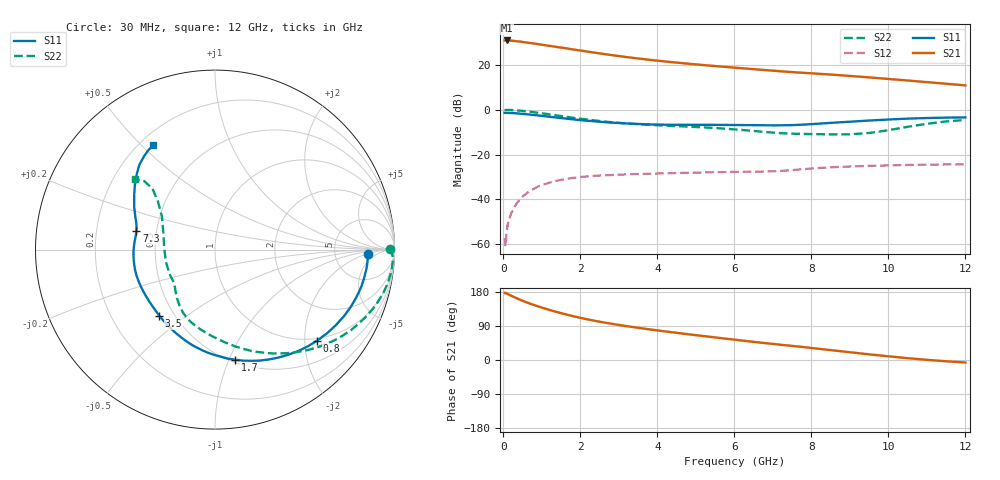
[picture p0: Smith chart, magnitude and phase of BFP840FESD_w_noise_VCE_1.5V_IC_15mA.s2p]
! Infineon Technologies  Discrete & RF Semiconductors
! BFP840FESD
! VCE =  1.5 V,  IC =  15 mA
! Common Emitter S-Parameters:  May 2012
# GHz  S  MA  R  50
!  f  S11  S21  S12  S22
! GHz  MAG  ANG  MAG  ANG  MAG  ANG  MAG  ANG
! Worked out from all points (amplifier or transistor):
!   103 points, 30 MHz to 12 GHz, reference 50 ohm
!   highest |S21| = 30.9 dB at 80 MHz (marker M1)
!   |S21| within 3 dB of that: start of sweep to 1.425 GHz
!   unconditionally stable (mu >= 1): 6.085 GHz to end of sweep
!   at 400 MHz: K = 0.11, MSG = 35.6 dB, |S12| = -40.6 dB
!   at 3.7 GHz: K = 0.65, MSG = 25.6 dB, |S12| = -28.6 dB
!   at 12 GHz: K = 1.13, MAG = 15.5 dB, |S12| = -24.4 dB
!   lowest NFmin = 0.78 dB at 450 MHz
!   S11 on the Smith chart (normalised r, x): 30 MHz: 12, -2; 800 MHz: 0.95, -2.29; 1.7 GHz: 0.53, -1.05; 3.5 GHz: 0.41, -0.40; 7.3 GHz: 0.38, +0.10; 12 GHz: 0.25, +0.54
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0.03  0.8538 -1.5  35.14 176.6  0.0012 93.3  0.9763 0.3
0.04  0.8538 -2.1  35.16 176.2  0.0013 95.6  0.9817 -0.3
0.05  0.8526 -2.8  35.22 177.2  0.0009 59.8  0.9855 -0.9
0.08  0.8526 -4.4  35.24 175.8  0.0019 99.8  0.991 -2.4
0.25  0.8415 -13.9  34.55 167.3  0.0057 82.5  0.9824 -10.2
0.4  0.823 -22.0  33.45 160.3  0.0093 77.7  0.9589 -16.4
0.6  0.7942 -32.0  31.7 152.1  0.0136 72.3  0.9209 -23.9
0.8  0.7626 -41.7  30.03 144.9  0.0174 66.3  0.8787 -30.9
1  0.7303 -50.8  28.26 138.2  0.0208 61.6  0.8335 -37.5
1.2  0.6979 -59.5  26.66 132.0  0.0237 56.8  0.7888 -43.6
1.5  0.6516 -71.9  24.41 123.6  0.0273 51.2  0.7238 -52.3
1.7  0.6233 -79.6  22.98 118.3  0.0291 47.7  0.683 -57.8
2.1  0.5768 -93.6  20.39 109.0  0.0321 42.0  0.6152 -67.8
2.7  0.5234 -111.2  17.1 97.4  0.0347 35.9  0.5382 -80.3
3.5  0.4819 -130.1  13.94 84.9  0.0367 31.6  0.4757 -93.6
4.1  0.4664 -142.2  12.22 76.8  0.0379 30.0  0.4468 -101.7
5  0.4607 -157.8  10.29 65.5  0.0395 28.8  0.4118 -112.2
6.1  0.4554 -174.2  8.577 52.5  0.041 28.1  0.359 -124.6
7.3  0.4502 166.7  7.119 39.2  0.0437 32.0  0.297 -140.0
8.5  0.509 152.2  6.1 26.1  0.0519 30.9  0.2819 -165.9
10.5  0.633 131.8  4.496 4.9  0.0585 24.8  0.4164 139.8
12  0.6753 120.5  3.497 -6.5  0.0601 22.9  0.5911 138.6
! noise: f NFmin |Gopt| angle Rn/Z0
0.45  0.78  0.16  5  0.11
0.9  0.8  0.16  11  0.13
1.5  0.81  0.15  19  0.13
1.9  0.82  0.14  28  0.14
2.4  0.82  0.13  40  0.14
3.5  0.84  0.13  65  0.13
5.5  0.89  0.09  134  0.11
8  0.99  0.11  -167  0.12
10  1.1  0.26  -121  0.14
12  1.31  0.42  -106  0.17
